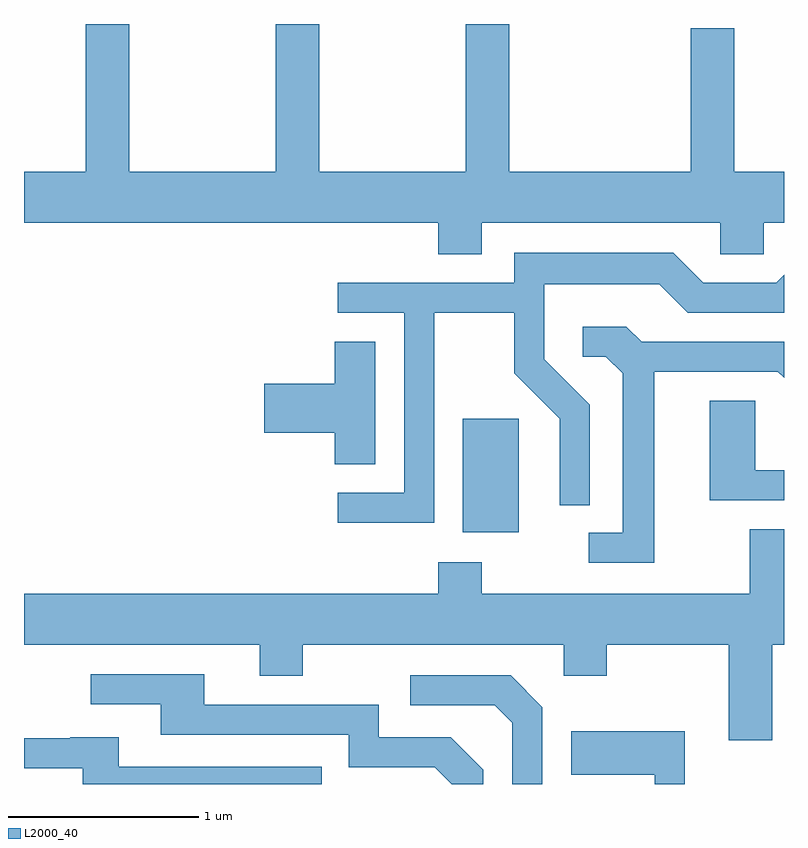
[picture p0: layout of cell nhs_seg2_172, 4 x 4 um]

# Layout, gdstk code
import gdstk
lib = gdstk.Library(unit=1e-6, precision=1e-09)
def R(c, l, rs):  # rectangles x0, y0, x1, y1
    for r in rs: c.add(gdstk.rectangle(r[:2], r[2:], *l))
def P(c, l, *ps):  # polygons
    for p in ps: c.add(gdstk.Polygon(p, *l))
L2000_40 = (2000, 40)

nhs_seg2_172 = lib.new_cell('nhs_seg2_172')
R(nhs_seg2_172, L2000_40, [(191.921,1051.126,192.214,1051.724)])
P(nhs_seg2_172, L2000_40, [(192.019,1052.756),(193.276,1052.756),(193.276,1052.591),(193.504,1052.591),(193.504,1052.756),(193.611,1052.756),(193.611,1053.024),(193.349,1053.024),(193.349,1053.779),(193.121,1053.779),(193.121,1053.024),(192.164,1053.024),(192.164,1053.802),(191.936,1053.802),(191.936,1053.024),(191.164,1053.024),(191.164,1053.802),(190.936,1053.802),(190.936,1053.024),(190.164,1053.024),(190.164,1053.802),(189.936,1053.802),(189.936,1053.024),(189.611,1053.024),(189.611,1052.756),(191.791,1052.756),(191.791,1052.591),(192.019,1052.591)],
  [(191.769,1052.281),(192.191,1052.281),(192.191,1051.964),(192.431,1051.724),(192.431,1051.268),(192.589,1051.268),(192.589,1051.797),(192.349,1052.037),(192.349,1052.431),(192.954,1052.431),(193.104,1052.281),(193.611,1052.281),(193.611,1052.481),(193.569,1052.439),(193.187,1052.439),(193.027,1052.599),(192.191,1052.599),(192.191,1052.439),(191.263,1052.439),(191.263,1052.281),(191.611,1052.281),(191.611,1051.334),(191.263,1051.334),(191.263,1051.176),(191.769,1051.176)],
  [(192.929,1051.971),(193.579,1051.971),(193.611,1051.939),(193.611,1052.129),(192.862,1052.129),(192.782,1052.209),(192.553,1052.209),(192.553,1052.051),(192.674,1052.051),(192.761,1051.964),(192.761,1051.124),(192.583,1051.124),(192.583,1050.966),(192.929,1050.966)],
  [(191.459,1052.129),(191.246,1052.129),(191.246,1051.909),(190.876,1051.909),(190.876,1051.651),(191.246,1051.651),(191.246,1051.486),(191.459,1051.486)],
  [(193.611,1051.454),(193.459,1051.454),(193.459,1051.819),(193.221,1051.819),(193.221,1051.296),(193.611,1051.296)],
  [(193.549,1050.536),(193.611,1050.536),(193.611,1051.144),(193.431,1051.144),(193.431,1050.804),(192.019,1050.804),(192.019,1050.969),(191.791,1050.969),(191.791,1050.804),(189.611,1050.804),(189.611,1050.536),(190.851,1050.536),(190.851,1050.371),(191.079,1050.371),(191.079,1050.536),(192.451,1050.536),(192.451,1050.371),(192.679,1050.371),(192.679,1050.536),(193.321,1050.536),(193.321,1050.031),(193.549,1050.031)],
  [(192.029,1049.877),(191.857,1050.049),(191.479,1050.049),(191.479,1050.219),(190.559,1050.219),(190.559,1050.379),(189.963,1050.379),(189.963,1050.221),(190.331,1050.221),(190.331,1050.061),(191.321,1050.061),(191.321,1049.891),(191.774,1049.891),(191.863,1049.802),(192.029,1049.802)],
  [(192.339,1050.207),(192.172,1050.374),(191.643,1050.374),(191.643,1050.216),(192.089,1050.216),(192.181,1050.124),(192.181,1049.802),(192.339,1049.802)],
  [(193.089,1050.079),(192.491,1050.079),(192.491,1049.851),(192.931,1049.851),(192.931,1049.802),(193.089,1049.802)],
  [(191.178,1049.894),(190.109,1049.894),(190.109,1050.049),(189.855,1050.049),(189.855,1050.044),(189.611,1050.044),(189.611,1049.886),(189.921,1049.886),(189.921,1049.802),(191.178,1049.802)])

lib.write_gds('nhs_seg2_172.gds')
